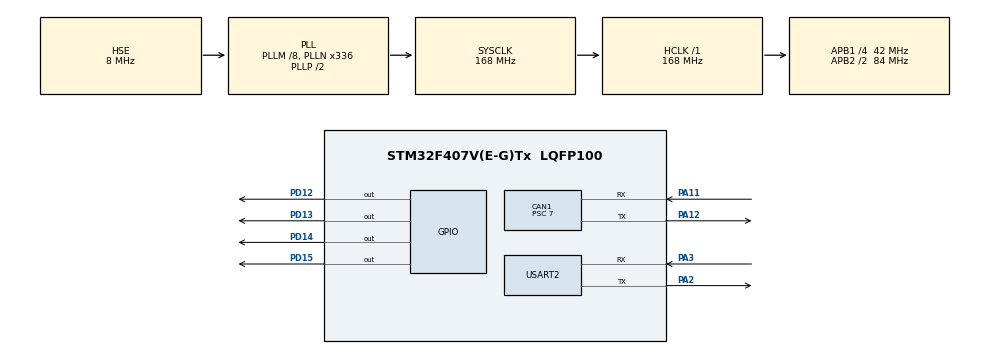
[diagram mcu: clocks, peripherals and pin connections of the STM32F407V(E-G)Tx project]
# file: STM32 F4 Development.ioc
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CAN1.BS1=CAN_BS1_10TQ
CAN1.CalculateBaudRate=499999
CAN1.CalculateTimeBit=2000
CAN1.CalculateTimeQuantum=166.66666666666669
CAN1.Mode=CAN_MODE_LOOPBACK
CAN1.Prescaler=7
Mcu.Family=STM32F4
Mcu.Name=STM32F407V(E-G)Tx
Mcu.Package=LQFP100
NVIC.CAN1_RX0_IRQn=true\:0\:0\:false\:false\:true\:true\:true
NVIC.CAN1_RX1_IRQn=true\:0\:0\:false\:false\:true\:true\:true
NVIC.PriorityGroup=NVIC_PRIORITYGROUP_0
PA11.Mode=CAN_Activate
PA11.Signal=CAN1_RX
PA12.Mode=CAN_Activate
PA12.Signal=CAN1_TX
PA13.Mode=Serial_Wire
PA13.Signal=SYS_JTMS-SWDIO
PA14.Mode=Serial_Wire
PA14.Signal=SYS_JTCK-SWCLK
PA2.Mode=Asynchronous
PA2.Signal=USART2_TX
PA3.Mode=Asynchronous
PA3.Signal=USART2_RX
PD12.Signal=GPIO_Output
PD13.Signal=GPIO_Output
PD14.Signal=GPIO_Output
PD15.Signal=GPIO_Output
PH0-OSC_IN.Mode=HSE-External-Oscillator
PH0-OSC_IN.Signal=RCC_OSC_IN
PH1-OSC_OUT.Mode=HSE-External-Oscillator
PH1-OSC_OUT.Signal=RCC_OSC_OUT
ProjectManager.HeapSize=0x200
ProjectManager.StackSize=0x400
ProjectManager.TargetToolchain=STM32CubeIDE
RCC.48MHZClocksFreq_Value=48000000
RCC.AHBFreq_Value=168000000
RCC.APB1CLKDivider=RCC_HCLK_DIV4
RCC.APB1Freq_Value=42000000
RCC.APB1TimFreq_Value=84000000
RCC.APB2CLKDivider=RCC_HCLK_DIV2
RCC.APB2Freq_Value=84000000
RCC.APB2TimFreq_Value=168000000
RCC.CortexFreq_Value=168000000
RCC.HCLKFreq_Value=168000000
RCC.HSE_VALUE=8000000
RCC.HSI_VALUE=16000000
RCC.LSE_VALUE=32768
RCC.PLLM=8
RCC.PLLN=336
RCC.PLLQ=7
RCC.PLLSourceVirtual=RCC_PLLSOURCE_HSE
RCC.SYSCLKFreq_VALUE=168000000
RCC.SYSCLKSource=RCC_SYSCLKSOURCE_PLLCLK
RCC.VCOOutputFreq_Value=336000000
USART2.VirtualMode=VM_ASYNC
board=STM32F407G-DISC1

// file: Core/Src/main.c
/* USER CODE BEGIN Header */
/**
  ******************************************************************************
  * @file           : main.c
  * @brief          : Main program body
  ******************************************************************************
  * @attention
  *
  * Copyright (c) 2021 STMicroelectronics.
  * All rights reserved.
  *
  * This software is licensed under terms that can be found in the LICENSE file
  * in the root directory of this software component.
  * If no LICENSE file comes with this software, it is provided AS-IS.
  *
  ******************************************************************************
  */
/* USER CODE END Header */
#include "main.h"

/* USER CODE BEGIN Includes */
#include "stdio.h"
/* USER CODE END Includes */

CAN_HandleTypeDef hcan1;

UART_HandleTypeDef huart2;

void SystemClock_Config(void);
static void MX_GPIO_Init(void);
static void MX_USART2_UART_Init(void);
static void MX_CAN1_Init(void);

/* USER CODE BEGIN 0 */
// To send the value in UART while doing Prinf function
int _write(int fd, char* ptr, int len) {
    HAL_UART_Transmit(&huart2, (uint8_t *) ptr, len, HAL_MAX_DELAY);
    return len;
}

//CAN initialization
CAN_TxHeaderTypeDef TxHeader;
CAN_RxHeaderTypeDef RxHeader;

uint32_t TxMailbox;

uint8_t TxData[8];
uint8_t RxData[8];

void HAL_CAN_RxFifo0MsgPendingCallback(CAN_HandleTypeDef *hcan1)
{
	HAL_CAN_GetRxMessage(hcan1, CAN_RX_FIFO0, &RxHeader, RxData);
	HAL_GPIO_TogglePin(GPIOD, GPIO_PIN_12);
}
/* USER CODE END 0 */

int main(void)
{

  /* MCU Configuration--------------------------------------------------------*/

  /* Reset of all peripherals, Initializes the Flash interface and the Systick. */
  HAL_Init();

  /* Configure the system clock */
  SystemClock_Config();

  /* Initialize all configured peripherals */
  MX_GPIO_Init();
  MX_USART2_UART_Init();
  MX_CAN1_Init();
  /* USER CODE BEGIN 2 */
  HAL_CAN_Start(&hcan1);

  HAL_GPIO_WritePin(GPIOD, GPIO_PIN_13, GPIO_PIN_SET);

  HAL_Delay(1000);
  HAL_CAN_ActivateNotification(&hcan1, CAN_IT_RX_FIFO0_MSG_PENDING);

  TxHeader.DLC = 1;
  TxHeader.ExtId = 0;
  TxHeader.IDE = CAN_ID_STD;
  TxHeader.RTR = CAN_RTR_DATA;
  TxHeader.StdId = 0x111;
  TxHeader.TransmitGlobalTime = DISABLE;

  TxData[0] = 0x01;

  /* USER CODE END 2 */

  /* Infinite loop */
  while (1)
  {

    /* USER CODE BEGIN 3 */
	  //CAN Transmit Code
	  HAL_GPIO_WritePin(GPIOD, GPIO_PIN_13, GPIO_PIN_RESET);
	  if (HAL_CAN_AddTxMessage(&hcan1, &TxHeader, &TxData[0], &TxMailbox) != HAL_OK)
	  {
		HAL_GPIO_WritePin(GPIOD, GPIO_PIN_14, GPIO_PIN_SET);
		Error_Handler();
	  }

	  //Blinky Code to test the health of STM32 F4 board
//	  HAL_GPIO_WritePin(GPIOD, GPIO_PIN_12, GPIO_PIN_SET);
//	  HAL_Delay(75);
//	  HAL_GPIO_WritePin(GPIOD, GPIO_PIN_13, GPIO_PIN_SET);
//	  HAL_Delay(75);
//	  HAL_GPIO_WritePin(GPIOD, GPIO_PIN_14, GPIO_PIN_SET);
//	  HAL_Delay(75);
//	  HAL_GPIO_WritePin(GPIOD, GPIO_PIN_15, GPIO_PIN_SET);
//	  HAL_Delay(75);
//
//	  HAL_GPIO_WritePin(GPIOD, GPIO_PIN_12, GPIO_PIN_RESET);
//	  HAL_Delay(75);
//	  HAL_GPIO_WritePin(GPIOD, GPIO_PIN_13, GPIO_PIN_RESET);
//	  HAL_Delay(75);
//	  HAL_GPIO_WritePin(GPIOD, GPIO_PIN_14, GPIO_PIN_RESET);
//	  HAL_Delay(75);
//	  HAL_GPIO_WritePin(GPIOD, GPIO_PIN_15, GPIO_PIN_RESET);
//	  HAL_Delay(75);

	  printf("\n Hello I am from UART");
  }
  /* USER CODE END 3 */
}

void SystemClock_Config(void)
{
  RCC_OscInitTypeDef RCC_OscInitStruct = {0};
  RCC_ClkInitTypeDef RCC_ClkInitStruct = {0};

  /** Configure the main internal regulator output voltage
  */
  __HAL_RCC_PWR_CLK_ENABLE();
  __HAL_PWR_VOLTAGESCALING_CONFIG(PWR_REGULATOR_VOLTAGE_SCALE1);
  /** Initializes the RCC Oscillators according to the specified parameters
  * in the RCC_OscInitTypeDef structure.
  */
  RCC_OscInitStruct.OscillatorType = RCC_OSCILLATORTYPE_HSE;
  RCC_OscInitStruct.HSEState = RCC_HSE_ON;
  RCC_OscInitStruct.PLL.PLLState = RCC_PLL_ON;
  RCC_OscInitStruct.PLL.PLLSource = RCC_PLLSOURCE_HSE;
  RCC_OscInitStruct.PLL.PLLM = 8;
  RCC_OscInitStruct.PLL.PLLN = 336;
  RCC_OscInitStruct.PLL.PLLP = RCC_PLLP_DIV2;
  RCC_OscInitStruct.PLL.PLLQ = 7;
  if (HAL_RCC_OscConfig(&RCC_OscInitStruct) != HAL_OK)
  {
    Error_Handler();
  }
  /** Initializes the CPU, AHB and APB buses clocks
  */
  RCC_ClkInitStruct.ClockType = RCC_CLOCKTYPE_HCLK|RCC_CLOCKTYPE_SYSCLK
                              |RCC_CLOCKTYPE_PCLK1|RCC_CLOCKTYPE_PCLK2;
  RCC_ClkInitStruct.SYSCLKSource = RCC_SYSCLKSOURCE_PLLCLK;
  RCC_ClkInitStruct.AHBCLKDivider = RCC_SYSCLK_DIV1;
  RCC_ClkInitStruct.APB1CLKDivider = RCC_HCLK_DIV4;
  RCC_ClkInitStruct.APB2CLKDivider = RCC_HCLK_DIV2;

  if (HAL_RCC_ClockConfig(&RCC_ClkInitStruct, FLASH_LATENCY_5) != HAL_OK)
  {
    Error_Handler();
  }
}

static void MX_CAN1_Init(void)
{

  hcan1.Instance = CAN1;
  hcan1.Init.Prescaler = 7;
  hcan1.Init.Mode = CAN_MODE_LOOPBACK;
  hcan1.Init.SyncJumpWidth = CAN_SJW_1TQ;
  hcan1.Init.TimeSeg1 = CAN_BS1_10TQ;
  hcan1.Init.TimeSeg2 = CAN_BS2_1TQ;
  hcan1.Init.TimeTriggeredMode = DISABLE;
  hcan1.Init.AutoBusOff = DISABLE;
  hcan1.Init.AutoWakeUp = DISABLE;
  hcan1.Init.AutoRetransmission = DISABLE;
  hcan1.Init.ReceiveFifoLocked = DISABLE;
  hcan1.Init.TransmitFifoPriority = DISABLE;
  if (HAL_CAN_Init(&hcan1) != HAL_OK)
  {
    Error_Handler();
  }
  /* USER CODE BEGIN CAN1_Init 2 */

  //CAN Filter Configuration
  CAN_FilterTypeDef canfilterconfig;

   canfilterconfig.FilterActivation = CAN_FILTER_ENABLE;
   canfilterconfig.FilterBank = 10;  // anything between 0 to SlaveStartFilterBank
   canfilterconfig.FilterFIFOAssignment = CAN_RX_FIFO0;
   canfilterconfig.FilterIdHigh = 0x111<<5;
   canfilterconfig.FilterIdLow = 0x0000;
   canfilterconfig.FilterMaskIdHigh = 0x111<<5;
   canfilterconfig.FilterMaskIdLow = 0x0000;
   canfilterconfig.FilterMode = CAN_FILTERMODE_IDMASK;
   canfilterconfig.FilterScale = CAN_FILTERSCALE_32BIT;
   canfilterconfig.SlaveStartFilterBank = 13;  // 13 to 27 are assigned to slave CAN (CAN 2) OR 0 to 12 are assgned to CAN1

   HAL_CAN_ConfigFilter(&hcan1, &canfilterconfig);

  /* USER CODE END CAN1_Init 2 */

}

static void MX_USART2_UART_Init(void)
{

  huart2.Instance = USART2;
  huart2.Init.BaudRate = 115200;
  huart2.Init.WordLength = UART_WORDLENGTH_8B;
  huart2.Init.StopBits = UART_STOPBITS_1;
  huart2.Init.Parity = UART_PARITY_NONE;
  huart2.Init.Mode = UART_MODE_TX_RX;
  huart2.Init.HwFlowCtl = UART_HWCONTROL_NONE;
  huart2.Init.OverSampling = UART_OVERSAMPLING_16;
  if (HAL_UART_Init(&huart2) != HAL_OK)
  {
    Error_Handler();
  }

}

static void MX_GPIO_Init(void)
{
  GPIO_InitTypeDef GPIO_InitStruct = {0};

  /* GPIO Ports Clock Enable */
  __HAL_RCC_GPIOH_CLK_ENABLE();
  __HAL_RCC_GPIOA_CLK_ENABLE();
  __HAL_RCC_GPIOD_CLK_ENABLE();

  /*Configure GPIO pin Output Level */
  HAL_GPIO_WritePin(GPIOD, GPIO_PIN_12|GPIO_PIN_13|GPIO_PIN_14|GPIO_PIN_15, GPIO_PIN_RESET);

  /*Configure GPIO pins : PD12 PD13 PD14 PD15 */
  GPIO_InitStruct.Pin = GPIO_PIN_12|GPIO_PIN_13|GPIO_PIN_14|GPIO_PIN_15;
  GPIO_InitStruct.Mode = GPIO_MODE_OUTPUT_PP;
  GPIO_InitStruct.Pull = GPIO_NOPULL;
  GPIO_InitStruct.Speed = GPIO_SPEED_FREQ_LOW;
  HAL_GPIO_Init(GPIOD, &GPIO_InitStruct);

}

void Error_Handler(void)
{
  __disable_irq();
  while (1)
  {
  }
}
